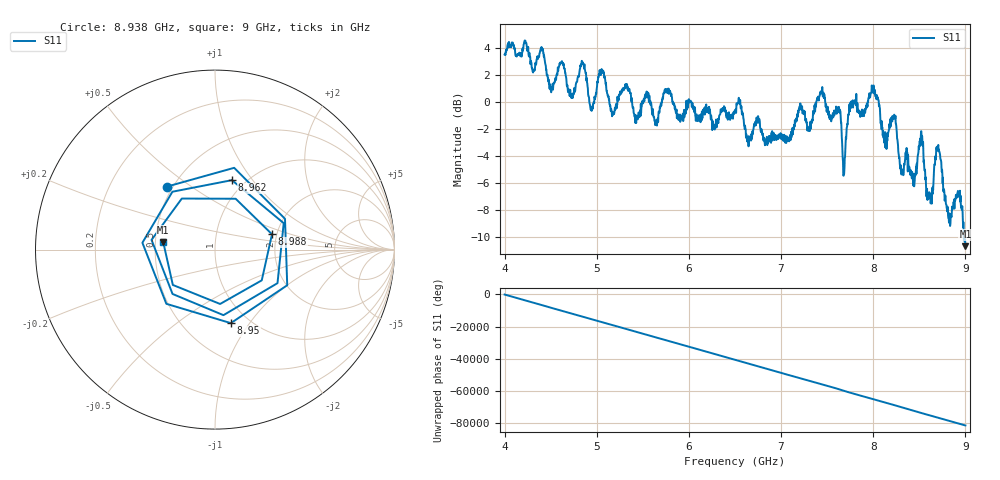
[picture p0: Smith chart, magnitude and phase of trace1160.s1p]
! Created with skrf 1.8.0 (http://scikit-rf.org).
# Hz S RI R 50.0
!freq ReS11 ImS11
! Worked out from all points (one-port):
!   1601 points, 4 GHz to 9 GHz, reference 50 ohm
!   lowest |S11| = -10.7 dB at 9 GHz (marker M1), VSWR 1.82, Z = 27.5 + j2.5 ohm
!   |S11| at or under -10 dB: 8.983029 GHz to 8.985844 GHz (2.814 MHz wide, 0.0313 % of centre); 8.990204 GHz to end of sweep
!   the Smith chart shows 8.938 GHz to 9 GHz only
!   S11 on the Smith chart (normalised r, x): 8.938 GHz: 0.47, +0.41; 8.95 GHz: 0.83, -0.82; 8.962 GHz: 0.87, +0.80; 8.988 GHz: 1.89, +0.36; 9 GHz: 0.55, +0.05
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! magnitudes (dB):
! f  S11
! 4 GHz  3.5
! 4.506 GHz  0.7
! 4.625 GHz  2.9
! 4.728 GHz  0.3
! 4.853 GHz  2.8
! 4.944 GHz  -0.7
! 5.047 GHz  2.2
! 5.166 GHz  -1.1
! 5.25 GHz  0.6
! 5.875 GHz  -1.1
! 6.5 GHz  -0.7
! 7.125 GHz  -1.9
! 7.444 GHz  0.7
! 7.622 GHz  -0.6
! 7.684 GHz  -5.3
! 7.75 GHz  -0.2
! 8.003 GHz  1.2
! 8.375 GHz  -5.2
! 8.444 GHz  -6.3
! 8.519 GHz  -2.2
! 8.612 GHz  -6.8
! 8.706 GHz  -3.2
! 8.812 GHz  -8.5
! 8.938 GHz  -7.1
! 8.95 GHz  -7.6
! 8.962 GHz  -8.0
! 8.988 GHz  -9.7
! 9 GHz  -10.7
